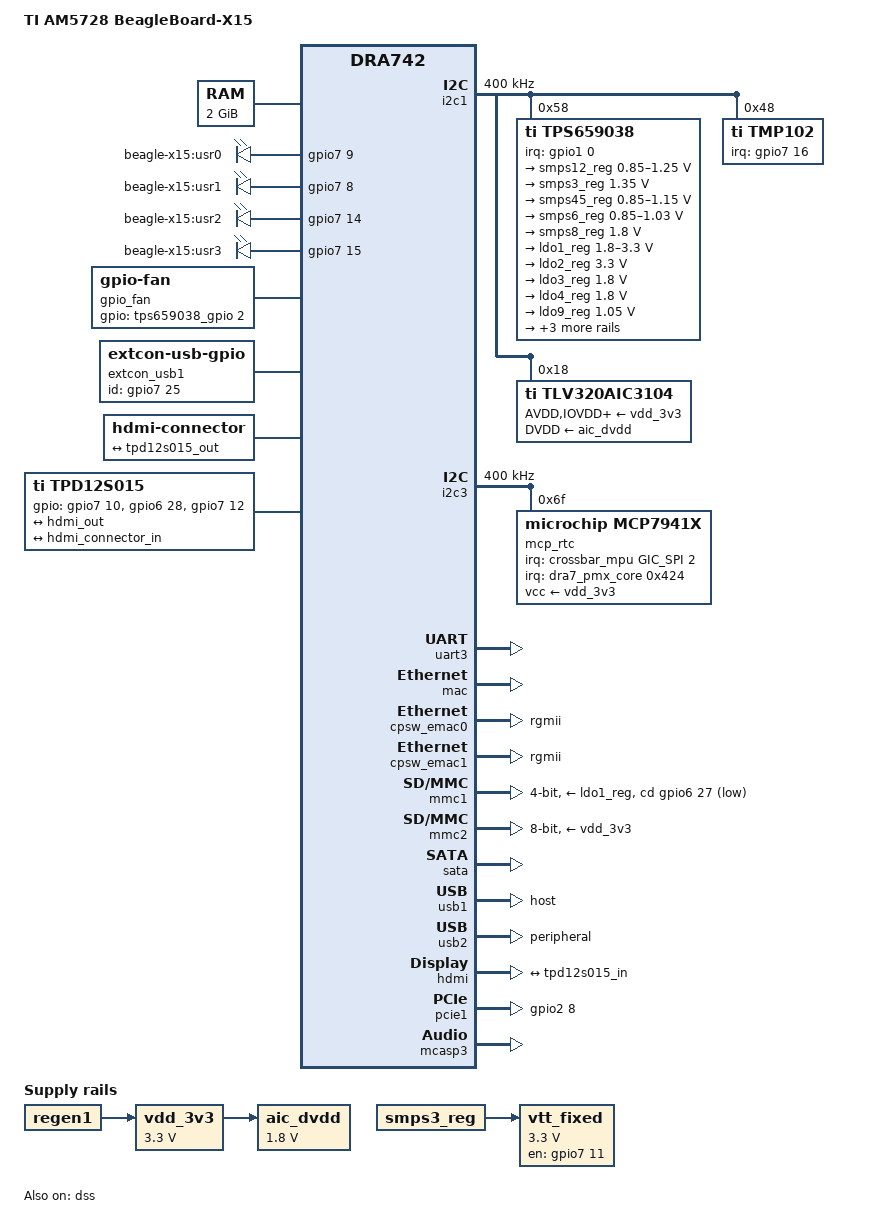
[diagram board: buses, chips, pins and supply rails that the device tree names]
/*
 * Copyright (C) 2014 Texas Instruments Incorporated - http://www.ti.com/
 *
 * This program is free software; you can redistribute it and/or modify
 * it under the terms of the GNU General Public License version 2 as
 * published by the Free Software Foundation.
 */
/dts-v1/;

#include "dra74x.dtsi"
#include <dt-bindings/gpio/gpio.h>
#include <dt-bindings/interrupt-controller/irq.h>

/ {
	model = "TI AM5728 BeagleBoard-X15";
	compatible = "ti,am572x-beagle-x15", "ti,am5728", "ti,dra742", "ti,dra74", "ti,dra7";

	aliases {
		rtc0 = &mcp_rtc;
		rtc1 = &tps659038_rtc;
		rtc2 = &rtc;
		display0 = &hdmi0;
	};

	memory {
		device_type = "memory";
		reg = <0x0 0x80000000 0x0 0x80000000>;
	};

	vdd_3v3: fixedregulator-vdd_3v3 {
		compatible = "regulator-fixed";
		regulator-name = "vdd_3v3";
		vin-supply = <&regen1>;
		regulator-min-microvolt = <3300000>;
		regulator-max-microvolt = <3300000>;
	};

	aic_dvdd: fixedregulator-aic_dvdd {
		compatible = "regulator-fixed";
		regulator-name = "aic_dvdd_fixed";
		vin-supply = <&vdd_3v3>;
		regulator-min-microvolt = <1800000>;
		regulator-max-microvolt = <1800000>;
	};

	vtt_fixed: fixedregulator-vtt {
		/* TPS51200 */
		compatible = "regulator-fixed";
		regulator-name = "vtt_fixed";
		vin-supply = <&smps3_reg>;
		regulator-min-microvolt = <3300000>;
		regulator-max-microvolt = <3300000>;
		regulator-always-on;
		regulator-boot-on;
		enable-active-high;
		gpio = <&gpio7 11 GPIO_ACTIVE_HIGH>;
	};

	leds {
		compatible = "gpio-leds";
		led@0 {
			label = "beagle-x15:usr0";
			gpios = <&gpio7 9 GPIO_ACTIVE_HIGH>;
			linux,default-trigger = "heartbeat";
			default-state = "off";
		};

		led@1 {
			label = "beagle-x15:usr1";
			gpios = <&gpio7 8 GPIO_ACTIVE_HIGH>;
			linux,default-trigger = "cpu0";
			default-state = "off";
		};

		led@2 {
			label = "beagle-x15:usr2";
			gpios = <&gpio7 14 GPIO_ACTIVE_HIGH>;
			linux,default-trigger = "mmc0";
			default-state = "off";
		};

		led@3 {
			label = "beagle-x15:usr3";
			gpios = <&gpio7 15 GPIO_ACTIVE_HIGH>;
			linux,default-trigger = "ide-disk";
			default-state = "off";
		};
	};

	gpio_fan: gpio_fan {
		/* Based on 5v 500mA AFB02505HHB */
		compatible = "gpio-fan";
		gpios =  <&tps659038_gpio 2 GPIO_ACTIVE_HIGH>;
		gpio-fan,speed-map = <0     0>,
				     <13000 1>;
		#cooling-cells = <2>;
	};

	extcon_usb1: extcon_usb1 {
		compatible = "linux,extcon-usb-gpio";
		id-gpio = <&gpio7 25 GPIO_ACTIVE_HIGH>;
	};

	hdmi0: connector {
		compatible = "hdmi-connector";
		label = "hdmi";

		type = "a";

		port {
			hdmi_connector_in: endpoint {
				remote-endpoint = <&tpd12s015_out>;
			};
		};
	};

	tpd12s015: encoder {
		compatible = "ti,tpd12s015";

		gpios = <&gpio7 10 GPIO_ACTIVE_HIGH>,	/* gpio7_10, CT CP HPD */
			<&gpio6 28 GPIO_ACTIVE_HIGH>,	/* gpio6_28, LS OE */
			<&gpio7 12 GPIO_ACTIVE_HIGH>;	/* gpio7_12/sp1_cs2, HPD */

		ports {
			#address-cells = <1>;
			#size-cells = <0>;

			port@0 {
				reg = <0>;

				tpd12s015_in: endpoint {
					remote-endpoint = <&hdmi_out>;
				};
			};

			port@1 {
				reg = <1>;

				tpd12s015_out: endpoint {
					remote-endpoint = <&hdmi_connector_in>;
				};
			};
		};
	};

	sound0: sound@0 {
		compatible = "simple-audio-card";
		simple-audio-card,name = "BeagleBoard-X15";
		simple-audio-card,widgets =
			"Line", "Line Out",
			"Line", "Line In";
		simple-audio-card,routing =
			"Line Out",	"LLOUT",
			"Line Out",	"RLOUT",
			"MIC2L",	"Line In",
			"MIC2R",	"Line In";
		simple-audio-card,format = "dsp_b";
		simple-audio-card,bitclock-master = <&sound0_master>;
		simple-audio-card,frame-master = <&sound0_master>;
		simple-audio-card,bitclock-inversion;

		simple-audio-card,cpu {
			sound-dai = <&mcasp3>;
		};

		sound0_master: simple-audio-card,codec {
			sound-dai = <&tlv320aic3104>;
			clocks = <&clkout2_clk>;
		};
	};
};

&dra7_pmx_core {
	mmc2_pins_default: mmc2_pins_default {
		pinctrl-single,pins = <
			0x9c (PIN_INPUT_PULLUP | MUX_MODE1) /* gpmc_a23.mmc2_clk */
			0xb0 (PIN_INPUT_PULLUP | MUX_MODE1) /* gpmc_cs1.mmc2_cmd */
			0xa0 (PIN_INPUT_PULLUP | MUX_MODE1) /* gpmc_a24.mmc2_dat0 */
			0xa4 (PIN_INPUT_PULLUP | MUX_MODE1) /* gpmc_a25.mmc2_dat1 */
			0xa8 (PIN_INPUT_PULLUP | MUX_MODE1) /* gpmc_a26.mmc2_dat2 */
			0xac (PIN_INPUT_PULLUP | MUX_MODE1) /* gpmc_a27.mmc2_dat3 */
			0x8c (PIN_INPUT_PULLUP | MUX_MODE1) /* gpmc_a19.mmc2_dat4 */
			0x90 (PIN_INPUT_PULLUP | MUX_MODE1) /* gpmc_a20.mmc2_dat5 */
			0x94 (PIN_INPUT_PULLUP | MUX_MODE1) /* gpmc_a21.mmc2_dat6 */
			0x98 (PIN_INPUT_PULLUP | MUX_MODE1) /* gpmc_a22.mmc2_dat7 */
		>;
	};
};

&i2c1 {
	status = "okay";
	clock-frequency = <400000>;

	tps659038: tps659038@58 {
		compatible = "ti,tps659038";
		reg = <0x58>;
		interrupt-parent = <&gpio1>;
		interrupts = <0 IRQ_TYPE_LEVEL_LOW>;

		#interrupt-cells = <2>;
		interrupt-controller;

		ti,system-power-controller;

		tps659038_pmic {
			compatible = "ti,tps659038-pmic";

			regulators {
				smps12_reg: smps12 {
					/* VDD_MPU */
					regulator-name = "smps12";
					regulator-min-microvolt = < 850000>;
					regulator-max-microvolt = <1250000>;
					regulator-always-on;
					regulator-boot-on;
				};

				smps3_reg: smps3 {
					/* VDD_DDR */
					regulator-name = "smps3";
					regulator-min-microvolt = <1350000>;
					regulator-max-microvolt = <1350000>;
					regulator-always-on;
					regulator-boot-on;
				};

				smps45_reg: smps45 {
					/* VDD_DSPEVE, VDD_IVA, VDD_GPU */
					regulator-name = "smps45";
					regulator-min-microvolt = < 850000>;
					regulator-max-microvolt = <1150000>;
					regulator-always-on;
					regulator-boot-on;
				};

				smps6_reg: smps6 {
					/* VDD_CORE */
					regulator-name = "smps6";
					regulator-min-microvolt = <850000>;
					regulator-max-microvolt = <1030000>;
					regulator-always-on;
					regulator-boot-on;
				};

				/* SMPS7 unused */

				smps8_reg: smps8 {
					/* VDD_1V8 */
					regulator-name = "smps8";
					regulator-min-microvolt = <1800000>;
					regulator-max-microvolt = <1800000>;
					regulator-always-on;
					regulator-boot-on;
				};

				/* SMPS9 unused */

				ldo1_reg: ldo1 {
					/* VDD_SD / VDDSHV8  */
					regulator-name = "ldo1";
					regulator-min-microvolt = <1800000>;
					regulator-max-microvolt = <3300000>;
					regulator-boot-on;
					regulator-always-on;
				};

				ldo2_reg: ldo2 {
					/* VDD_SHV5 */
					regulator-name = "ldo2";
					regulator-min-microvolt = <3300000>;
					regulator-max-microvolt = <3300000>;
					regulator-always-on;
					regulator-boot-on;
				};

				ldo3_reg: ldo3 {
					/* VDDA_1V8_PHYA */
					regulator-name = "ldo3";
					regulator-min-microvolt = <1800000>;
					regulator-max-microvolt = <1800000>;
					regulator-always-on;
					regulator-boot-on;
				};

				ldo4_reg: ldo4 {
					/* VDDA_1V8_PHYB */
					regulator-name = "ldo4";
					regulator-min-microvolt = <1800000>;
					regulator-max-microvolt = <1800000>;
					regulator-always-on;
					regulator-boot-on;
				};

				ldo9_reg: ldo9 {
					/* VDD_RTC */
					regulator-name = "ldo9";
					regulator-min-microvolt = <1050000>;
					regulator-max-microvolt = <1050000>;
					regulator-always-on;
					regulator-boot-on;
				};

				ldoln_reg: ldoln {
					/* VDDA_1V8_PLL */
					regulator-name = "ldoln";
					regulator-min-microvolt = <1800000>;
					regulator-max-microvolt = <1800000>;
					regulator-always-on;
					regulator-boot-on;
				};

				ldousb_reg: ldousb {
					/* VDDA_3V_USB: VDDA_USBHS33 */
					regulator-name = "ldousb";
					regulator-min-microvolt = <3300000>;
					regulator-max-microvolt = <3300000>;
					regulator-boot-on;
				};

				regen1: regen1 {
					/* VDD_3V3_ON */
					regulator-name = "regen1";
					regulator-boot-on;
					regulator-always-on;
				};
			};
		};

		tps659038_rtc: tps659038_rtc {
			compatible = "ti,palmas-rtc";
			interrupt-parent = <&tps659038>;
			interrupts = <8 IRQ_TYPE_EDGE_FALLING>;
			wakeup-source;
		};

		tps659038_pwr_button: tps659038_pwr_button {
			compatible = "ti,palmas-pwrbutton";
			interrupt-parent = <&tps659038>;
			interrupts = <1 IRQ_TYPE_EDGE_FALLING>;
			wakeup-source;
			ti,palmas-long-press-seconds = <12>;
		};

		tps659038_gpio: tps659038_gpio {
			compatible = "ti,palmas-gpio";
			gpio-controller;
			#gpio-cells = <2>;
		};

		extcon_usb2: tps659038_usb {
			compatible = "ti,palmas-usb-vid";
			ti,enable-vbus-detection;
			ti,enable-id-detection;
			id-gpios = <&gpio7 24 GPIO_ACTIVE_HIGH>;
		};

	};

	tmp102: tmp102@48 {
		compatible = "ti,tmp102";
		reg = <0x48>;
		interrupt-parent = <&gpio7>;
		interrupts = <16 IRQ_TYPE_LEVEL_LOW>;
		#thermal-sensor-cells = <1>;
	};

	tlv320aic3104: tlv320aic3104@18 {
		#sound-dai-cells = <0>;
		compatible = "ti,tlv320aic3104";
		reg = <0x18>;

		assigned-clocks = <&clkoutmux2_clk_mux>;
		assigned-clock-parents = <&sys_clk2_dclk_div>;

		adc-settle-ms = <40>;
		AVDD-supply = <&vdd_3v3>;
		IOVDD-supply = <&vdd_3v3>;
		DRVDD-supply = <&vdd_3v3>;
		DVDD-supply = <&aic_dvdd>;

		status = "okay";
	};
};

&i2c3 {
	status = "okay";
	clock-frequency = <400000>;

	mcp_rtc: rtc@6f {
		compatible = "microchip,mcp7941x";
		reg = <0x6f>;
		interrupts-extended = <&crossbar_mpu GIC_SPI 2 IRQ_TYPE_EDGE_RISING>,
				      <&dra7_pmx_core 0x424>;
		interrupt-names = "irq", "wakeup";

		vcc-supply = <&vdd_3v3>;
		wakeup-source;
	};
};

&gpio7 {
	ti,no-reset-on-init;
	ti,no-idle-on-init;
};

&cpu0 {
	cpu0-supply = <&smps12_reg>;
	voltage-tolerance = <1>;
};

&uart3 {
	status = "okay";
	interrupts-extended = <&crossbar_mpu GIC_SPI 69 IRQ_TYPE_LEVEL_HIGH>,
			      <&dra7_pmx_core 0x3f8>;
};

&mac {
	status = "okay";
	dual_emac;
};

&cpsw_emac0 {
	phy_id = <&davinci_mdio>, <1>;
	phy-mode = "rgmii";
	dual_emac_res_vlan = <1>;
};

&cpsw_emac1 {
	phy_id = <&davinci_mdio>, <2>;
	phy-mode = "rgmii";
	dual_emac_res_vlan = <2>;
};

&mmc1 {
	status = "okay";

	vmmc-supply = <&ldo1_reg>;
	bus-width = <4>;
	cd-gpios = <&gpio6 27 GPIO_ACTIVE_LOW>; /* gpio 219 */
};

&mmc2 {
	status = "okay";

	vmmc-supply = <&vdd_3v3>;
	bus-width = <8>;
	ti,non-removable;
	cap-mmc-dual-data-rate;
};

&sata {
	status = "okay";
};

&usb2_phy1 {
	phy-supply = <&ldousb_reg>;
};

&usb2_phy2 {
	phy-supply = <&ldousb_reg>;
};

&usb1 {
	dr_mode = "host";
};

&omap_dwc3_1 {
	extcon = <&extcon_usb1>;
};

&omap_dwc3_2 {
	extcon = <&extcon_usb2>;
};

&usb2 {
	/*
	 * Stand alone usage is peripheral only.
	 * However, with some resistor modifications
	 * this port can be used via expansion connectors
	 * as "host" or "dual-role". If so, provide
	 * the necessary dr_mode override in the expansion
	 * board's DT.
	 */
	dr_mode = "peripheral";
};

&cpu_trips {
	cpu_alert1: cpu_alert1 {
		temperature = <50000>; /* millicelsius */
		hysteresis = <2000>; /* millicelsius */
		type = "active";
	};
};

&cpu_cooling_maps {
	map1 {
		trip = <&cpu_alert1>;
		cooling-device = <&gpio_fan THERMAL_NO_LIMIT THERMAL_NO_LIMIT>;
	};
};

&thermal_zones {
	board_thermal: board_thermal {
		polling-delay-passive = <1250>; /* milliseconds */
		polling-delay = <1500>; /* milliseconds */

				/* sensor       ID */
		thermal-sensors = <&tmp102     0>;

		board_trips: trips {
			board_alert0: board_alert {
				temperature = <40000>; /* millicelsius */
				hysteresis = <2000>; /* millicelsius */
				type = "active";
			};

			board_crit: board_crit {
				temperature = <105000>; /* millicelsius */
				hysteresis = <0>; /* millicelsius */
				type = "critical";
			};
		};

		board_cooling_maps: cooling-maps {
			map0 {
				trip = <&board_alert0>;
				cooling-device =
				  <&gpio_fan THERMAL_NO_LIMIT THERMAL_NO_LIMIT>;
			};
		};
       };
};

&dss {
	status = "ok";

	vdda_video-supply = <&ldoln_reg>;
};

&hdmi {
	status = "ok";
	vdda-supply = <&ldo4_reg>;

	port {
		hdmi_out: endpoint {
			remote-endpoint = <&tpd12s015_in>;
		};
	};
};

&pcie1 {
	gpios = <&gpio2 8 GPIO_ACTIVE_LOW>;
};

&mcasp3 {
	#sound-dai-cells = <0>;
	assigned-clocks = <&mcasp3_ahclkx_mux>;
	assigned-clock-parents = <&sys_clkin2>;
	status = "okay";

	op-mode = <0>;	/* MCASP_IIS_MODE */
	tdm-slots = <2>;
	/* 4 serializers */
	serial-dir = <	/* 0: INACTIVE, 1: TX, 2: RX */
		1 2 0 0
	>;
	tx-num-evt = <32>;
	rx-num-evt = <32>;
};

&mailbox3 {
	status = "okay";
	mbox_pru1_0: mbox_pru1_0 {
		status = "okay";
	};
	mbox_pru1_1: mbox_pru1_1 {
		status = "okay";
	};
};

&mailbox4 {
	status = "okay";
	mbox_pru2_0: mbox_pru2_0 {
		status = "okay";
	};
	mbox_pru2_1: mbox_pru2_1 {
		status = "okay";
	};
};

&mailbox5 {
	status = "okay";
	mbox_ipu1_ipc3x: mbox_ipu1_ipc3x {
		status = "okay";
	};
	mbox_dsp1_ipc3x: mbox_dsp1_ipc3x {
		status = "okay";
	};
};

&mailbox6 {
	status = "okay";
	mbox_ipu2_ipc3x: mbox_ipu2_ipc3x {
		status = "okay";
	};
	mbox_dsp2_ipc3x: mbox_dsp2_ipc3x {
		status = "okay";
	};
};
